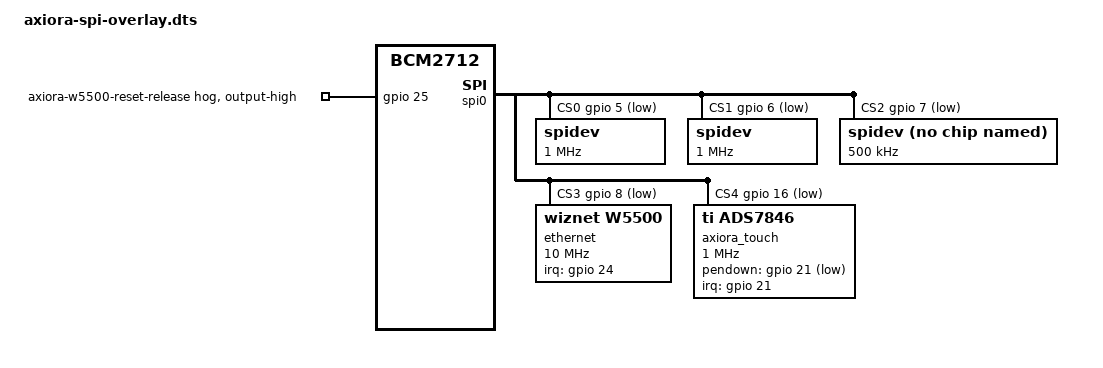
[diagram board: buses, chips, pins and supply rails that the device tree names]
// Raspberry Pi 5 / RP1. Linux owns every CS on the shared SPI bus.
/dts-v1/;
/plugin/;
/ {
    compatible = "brcm,bcm2712";
    fragment@0 {
        target = <&spi0>;
        __overlay__ {
            status = "okay";
            #address-cells = <1>;
            #size-cells = <0>;
            // Exclude the default hardware-CS pin group (GPIO7/8).
            pinctrl-0 = <&spi0_pins>;
            num-cs = <5>;
            cs-gpios = <&gpio 5 1>, <&gpio 6 1>, <&gpio 7 1>, <&gpio 8 1>, <&gpio 16 1>;
            spidev@0 { reg = <0>; status = "okay"; spi-max-frequency = <1000000>; };
            spidev@1 { reg = <1>; status = "okay"; spi-max-frequency = <1000000>; };
            // Raspberry Pi kernel explicitly supports this spidev compatible.
            spidev@2 {
                compatible = "spidev";
                reg = <2>;
                spi-max-frequency = <500000>;
                status = "okay";
            };
            ethernet@3 {
                compatible = "wiznet,w5500";
                reg = <3>;
                spi-max-frequency = <10000000>;
                interrupt-parent = <&gpio>;
                interrupts = <24 8>;
                status = "okay";
            };
            axiora_touch: touchscreen@4 {
                compatible = "ti,ads7846";
                reg = <4>;
                spi-max-frequency = <1000000>;
                interrupt-parent = <&gpio>;
                interrupts = <21 2>;
                pendown-gpio = <&gpio 21 1>;
                ti,x-min = /bits/ 16 <0>;
                ti,y-min = /bits/ 16 <0>;
                ti,x-max = /bits/ 16 <4095>;
                ti,y-max = /bits/ 16 <4095>;
                ti,pressure-max = /bits/ 16 <65535>;
                ti,x-plate-ohms = /bits/ 16 <400>;
                status = "okay";
            };
        };
    };
    fragment@1 {
        target = <&gpio>;
        __overlay__ {
            axiora-w5500-reset {
                gpio-hog;
                gpios = <25 0>;
                output-high;
                line-name = "axiora-w5500-reset-release";
            };
        };
    };
    __overrides__ {
        touch = <&axiora_touch>, "status";
        swapxy = <&axiora_touch>, "touchscreen-swapped-x-y?";
        invx = <&axiora_touch>, "touchscreen-inverted-x?";
        invy = <&axiora_touch>, "touchscreen-inverted-y?";
    };
};
